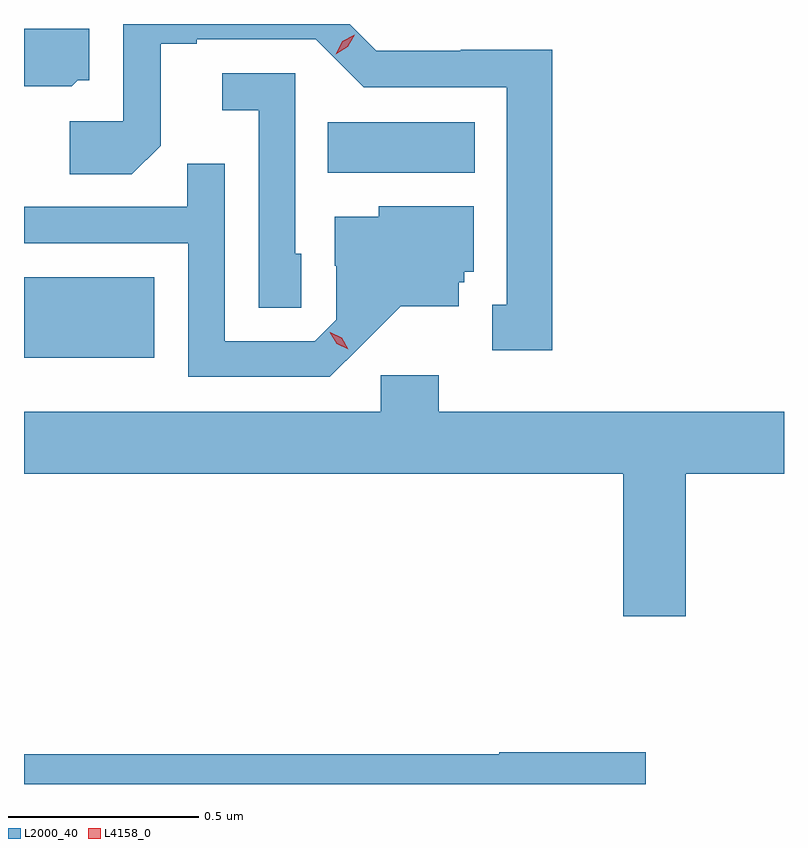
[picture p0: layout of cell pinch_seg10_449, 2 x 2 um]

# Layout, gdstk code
import gdstk
lib = gdstk.Library(unit=1e-6, precision=1e-09)
def R(c, l, rs):  # rectangles x0, y0, x1, y1
    for r in rs: c.add(gdstk.rectangle(r[:2], r[2:], *l))
def P(c, l, *ps):  # polygons
    for p in ps: c.add(gdstk.Polygon(p, *l))
L2000_40 = (2000, 40)
L4158_0 = (4158, 0)

pinch_seg10_449 = lib.new_cell('pinch_seg10_449')
R(pinch_seg10_449, L2000_40, [(367.227,1313.942,367.57,1314.154), (368.026,1314.428,368.413,1314.562)])
P(pinch_seg10_449, L2000_40, [(368.617,1314.752),(368.376,1314.752),(368.376,1314.75),(368.154,1314.75),(368.084,1314.82),(367.488,1314.82),(367.488,1314.564),(367.347,1314.564),(367.347,1314.424),(367.511,1314.424),(367.587,1314.5),(367.587,1314.768),(367.681,1314.768),(367.681,1314.78),(367.995,1314.78),(368.121,1314.654),(368.498,1314.654),(368.498,1314.081),(368.459,1314.081),(368.459,1313.961),(368.617,1313.961)],
  [(367.368,1314.672),(367.399,1314.672),(367.399,1314.808),(367.227,1314.808),(367.227,1314.656),(367.352,1314.656)],
  [(367.956,1314.216),(367.941,1314.216),(367.941,1314.69),(367.749,1314.69),(367.749,1314.593),(367.845,1314.593),(367.845,1314.073),(367.956,1314.073)],
  [(368.116,1313.975),(368.219,1314.077),(368.371,1314.077),(368.371,1314.141),(368.385,1314.141),(368.385,1314.168),(368.41,1314.168),(368.41,1314.34),(368.16,1314.34),(368.16,1314.313),(368.045,1314.313),(368.045,1314.184),(368.049,1314.184),(368.049,1314.042),(367.992,1313.985),(367.755,1313.985),(367.755,1314.452),(367.657,1314.452),(367.657,1314.339),(367.227,1314.339),(367.227,1314.243),(367.659,1314.243),(367.659,1313.892),(368.032,1313.892)],
  [(368.968,1313.636),(369.227,1313.636),(369.227,1313.8),(368.318,1313.8),(368.318,1313.896),(368.166,1313.896),(368.166,1313.8),(367.227,1313.8),(367.227,1313.636),(368.804,1313.636),(368.804,1313.262),(368.968,1313.262)],
  [(368.863,1312.904),(368.478,1312.904),(368.478,1312.898),(367.227,1312.898),(367.227,1312.82),(368.863,1312.82)])
P(pinch_seg10_449, L4158_0, [(368.047,1314.741),(368.047,1314.741),(368.065,1314.774),(368.097,1314.792),(368.097,1314.792),(368.097,1314.792),(368.079,1314.76),(368.048,1314.741)],
  [(368.08,1313.964),(368.05,1313.979),(368.032,1314.009),(368.032,1314.009),(368.033,1314.009),(368.063,1313.994),(368.08,1313.964),(368.08,1313.964)])

lib.write_gds('pinch_seg10_449.gds')
